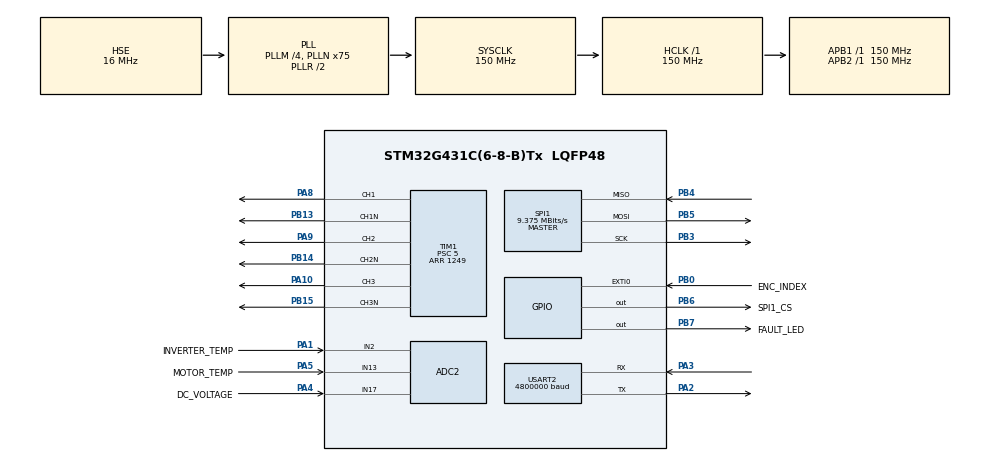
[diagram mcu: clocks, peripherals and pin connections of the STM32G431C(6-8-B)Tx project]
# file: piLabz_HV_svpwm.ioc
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ADC2.Channel-1\#ChannelRegularConversion=ADC_CHANNEL_2
ADC2.Channel-2\#ChannelRegularConversion=ADC_CHANNEL_13
ADC2.Channel-3\#ChannelRegularConversion=ADC_CHANNEL_17
ADC2.DMAContinuousRequests=ENABLE
ADC2.EOCSelection=ADC_EOC_SEQ_CONV
ADC2.EnableRegularConversion=ENABLE
ADC2.ExternalTrigConv=ADC_EXTERNALTRIG_T4_TRGO
ADC2.NbrOfConversion=3
ADC2.NbrOfConversionFlag=1
ADC2.OffsetNumber-1\#ChannelRegularConversion=ADC_OFFSET_NONE
ADC2.OffsetNumber-2\#ChannelRegularConversion=ADC_OFFSET_NONE
ADC2.OffsetNumber-3\#ChannelRegularConversion=ADC_OFFSET_NONE
ADC2.Rank-1\#ChannelRegularConversion=1
ADC2.Rank-2\#ChannelRegularConversion=2
ADC2.Rank-3\#ChannelRegularConversion=3
ADC2.SamplingTime-1\#ChannelRegularConversion=ADC_SAMPLETIME_24CYCLES_5
ADC2.SamplingTime-2\#ChannelRegularConversion=ADC_SAMPLETIME_24CYCLES_5
ADC2.SamplingTime-3\#ChannelRegularConversion=ADC_SAMPLETIME_24CYCLES_5
Dma.ADC2.1.Direction=DMA_PERIPH_TO_MEMORY
Dma.ADC2.1.EventEnable=DISABLE
Dma.ADC2.1.Instance=DMA1_Channel2
Dma.ADC2.1.MemDataAlignment=DMA_MDATAALIGN_HALFWORD
Dma.ADC2.1.MemInc=DMA_MINC_ENABLE
Dma.ADC2.1.Mode=DMA_CIRCULAR
Dma.ADC2.1.PeriphDataAlignment=DMA_PDATAALIGN_HALFWORD
Dma.ADC2.1.PeriphInc=DMA_PINC_DISABLE
Dma.ADC2.1.Polarity=HAL_DMAMUX_REQ_GEN_RISING
Dma.ADC2.1.Priority=DMA_PRIORITY_LOW
Dma.ADC2.1.RequestNumber=1
Dma.ADC2.1.SignalID=NONE
Dma.ADC2.1.SyncEnable=DISABLE
Dma.ADC2.1.SyncPolarity=HAL_DMAMUX_SYNC_NO_EVENT
Dma.ADC2.1.SyncRequestNumber=1
Dma.ADC2.1.SyncSignalID=NONE
Dma.Request0=USART2_TX
Dma.Request1=ADC2
Dma.USART2_TX.0.Direction=DMA_MEMORY_TO_PERIPH
Dma.USART2_TX.0.EventEnable=DISABLE
Dma.USART2_TX.0.Instance=DMA1_Channel1
Dma.USART2_TX.0.MemDataAlignment=DMA_MDATAALIGN_BYTE
Dma.USART2_TX.0.MemInc=DMA_MINC_ENABLE
Dma.USART2_TX.0.Mode=DMA_NORMAL
Dma.USART2_TX.0.PeriphDataAlignment=DMA_PDATAALIGN_BYTE
Dma.USART2_TX.0.PeriphInc=DMA_PINC_DISABLE
Dma.USART2_TX.0.Polarity=HAL_DMAMUX_REQ_GEN_RISING
Dma.USART2_TX.0.Priority=DMA_PRIORITY_HIGH
Dma.USART2_TX.0.RequestNumber=1
Dma.USART2_TX.0.SignalID=NONE
Dma.USART2_TX.0.SyncEnable=DISABLE
Dma.USART2_TX.0.SyncPolarity=HAL_DMAMUX_SYNC_NO_EVENT
Dma.USART2_TX.0.SyncRequestNumber=1
Dma.USART2_TX.0.SyncSignalID=NONE
Mcu.Family=STM32G4
Mcu.Name=STM32G431C(6-8-B)Tx
Mcu.Package=LQFP48
NVIC.ADC1_2_IRQn=true\:0\:0\:false\:false\:true\:true\:true\:true
NVIC.DMA1_Channel1_IRQn=true\:0\:0\:false\:false\:true\:false\:true\:true
NVIC.DMA1_Channel2_IRQn=true\:0\:0\:false\:false\:true\:false\:true\:true
NVIC.EXTI0_IRQn=true\:0\:0\:true\:false\:true\:true\:true\:true
NVIC.PriorityGroup=NVIC_PRIORITYGROUP_4
NVIC.TIM1_UP_TIM16_IRQn=true\:2\:0\:true\:false\:true\:true\:true\:true
NVIC.TIM4_IRQn=true\:0\:0\:false\:false\:true\:true\:true\:true
NVIC.TIM6_DAC_IRQn=true\:3\:0\:true\:false\:true\:true\:true\:true
NVIC.TIM7_IRQn=true\:7\:0\:true\:false\:true\:true\:true\:true
NVIC.USART2_IRQn=true\:1\:0\:true\:false\:true\:true\:true\:true
PA1.GPIO_Label=INVERTER_TEMP
PA1.Mode=IN2-Single-Ended
PA1.Signal=ADC2_IN2
PA10.Signal=S_TIM1_CH3
PA13.Mode=Serial_Wire
PA13.Signal=SYS_JTMS-SWDIO
PA14.Mode=Serial_Wire
PA14.Signal=SYS_JTCK-SWCLK
PA2.Mode=Asynchronous
PA2.Signal=USART2_TX
PA3.Mode=Asynchronous
PA3.Signal=USART2_RX
PA4.GPIO_Label=DC_VOLTAGE
PA4.Mode=IN17-Single-Ended
PA4.Signal=ADC2_IN17
PA5.GPIO_Label=MOTOR_TEMP
PA5.Mode=IN13-Single-Ended
PA5.Signal=ADC2_IN13
PA8.Signal=S_TIM1_CH1
PA9.Signal=S_TIM1_CH2
PB0.GPIO_Label=ENC_INDEX
PB0.Signal=GPXTI0
PB13.Mode=PWM Generation1 CH1 CH1N
PB13.Signal=TIM1_CH1N
PB14.Mode=PWM Generation2 CH2 CH2N
PB14.Signal=TIM1_CH2N
PB15.Mode=PWM Generation3 CH3 CH3N
PB15.Signal=TIM1_CH3N
PB3.Mode=Full_Duplex_Master
PB3.Signal=SPI1_SCK
PB4.Mode=Full_Duplex_Master
PB4.Signal=SPI1_MISO
PB5.Mode=Full_Duplex_Master
PB5.Signal=SPI1_MOSI
PB6.GPIO_Label=SPI1_CS
PB6.GPIO_ModeDefaultOutputPP=GPIO_MODE_OUTPUT_PP
PB6.GPIO_PuPd=GPIO_NOPULL
PB6.PinState=GPIO_PIN_RESET
PB6.Signal=GPIO_Output
PB7.GPIO_Label=FAULT_LED
PB7.Signal=GPIO_Output
PF0-OSC_IN.Mode=HSE-External-Oscillator
PF0-OSC_IN.Signal=RCC_OSC_IN
PF1-OSC_OUT.Mode=HSE-External-Oscillator
PF1-OSC_OUT.Signal=RCC_OSC_OUT
ProjectManager.HeapSize=0x200
ProjectManager.StackSize=0x400
ProjectManager.TargetToolchain=STM32CubeIDE
RCC.ADC12Freq_Value=150000000
RCC.AHBFreq_Value=150000000
RCC.APB1Freq_Value=150000000
RCC.APB1TimFreq_Value=150000000
RCC.APB2Freq_Value=150000000
RCC.APB2TimFreq_Value=150000000
RCC.CortexFreq_Value=150000000
RCC.EXTERNAL_CLOCK_VALUE=12288000
RCC.HCLKFreq_Value=150000000
RCC.HSE_VALUE=16000000
RCC.HSI48_VALUE=48000000
RCC.HSI_VALUE=16000000
RCC.LSE_VALUE=32768
RCC.PLLM=RCC_PLLM_DIV4
RCC.PLLN=75
RCC.PLLSourceVirtual=RCC_PLLSOURCE_HSE
RCC.SYSCLKFreq_VALUE=150000000
RCC.SYSCLKSource=RCC_SYSCLKSOURCE_PLLCLK
RCC.USBFreq_Value=150000000
RCC.VCOOutputFreq_Value=300000000
SH.S_TIM1_CH1.0=TIM1_CH1,PWM Generation1 CH1 CH1N
SH.S_TIM1_CH2.0=TIM1_CH2,PWM Generation2 CH2 CH2N
SH.S_TIM1_CH3.0=TIM1_CH3,PWM Generation3 CH3 CH3N
SPI1.BaudRatePrescaler=SPI_BAUDRATEPRESCALER_16
SPI1.CLKPhase=SPI_PHASE_2EDGE
SPI1.CalculateBaudRate=9.375 MBits/s
SPI1.DataSize=SPI_DATASIZE_8BIT
SPI1.Direction=SPI_DIRECTION_2LINES
SPI1.Mode=SPI_MODE_MASTER
SPI1.VirtualType=VM_MASTER
TIM1.Channel-PWM\ Generation1\ CH1\ CH1N=TIM_CHANNEL_1
TIM1.Channel-PWM\ Generation2\ CH2\ CH2N=TIM_CHANNEL_2
TIM1.Channel-PWM\ Generation3\ CH3\ CH3N=TIM_CHANNEL_3
TIM1.CounterMode=TIM_COUNTERMODE_CENTERALIGNED1
TIM1.DeadTime=90
TIM1.OCMode_PWM-PWM\ Generation1\ CH1\ CH1N=TIM_OCMODE_PWM1
TIM1.OCNIdleState_1=TIM_OCNIDLESTATE_SET
TIM1.OCNIdleState_2=TIM_OCNIDLESTATE_SET
TIM1.OCNIdleState_3=TIM_OCNIDLESTATE_SET
TIM1.OCNPolarity_1=TIM_OCNPOLARITY_LOW
TIM1.OCNPolarity_2=TIM_OCNPOLARITY_LOW
TIM1.OCNPolarity_3=TIM_OCNPOLARITY_LOW
TIM1.PeriodNoDither=1249
TIM1.Prescaler=5
TIM1.RepetitionCounter=0
TIM1.TIM_MasterOutputTrigger=TIM_TRGO_RESET
TIM4.PeriodNoDither=2399
TIM4.Prescaler=1249
TIM4.TIM_MasterOutputTrigger=TIM_TRGO_UPDATE
TIM6.PeriodNoDither=2399
TIM6.Prescaler=1249
TIM7.PeriodNoDither=99
TIM7.Prescaler=1499
USART2.BaudRate=4800000
USART2.Mode=MODE_TX
USART2.VirtualMode-Asynchronous=VM_ASYNC
VP_CORDIC_VS_CORDIC.Mode=CORDIC_Activate
VP_SYS_VS_DBSignals.Mode=DisableDeadBatterySignals
VP_TIM1_VS_ClockSourceINT.Mode=Internal
VP_TIM4_VS_ClockSourceINT.Mode=Internal
VP_TIM6_VS_ClockSourceINT.Mode=Enable_Timer
VP_TIM7_VS_ClockSourceINT.Mode=Enable_Timer
board=custom

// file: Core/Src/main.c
/* USER CODE BEGIN Header */
/**
  ******************************************************************************
  * @file           : main.c
  * @brief          : Main program body
  ******************************************************************************
  * @attention
  *
  * Copyright (c) 2024 STMicroelectronics.
  * All rights reserved.
  *
  * This software is licensed under terms that can be found in the LICENSE file
  * in the root directory of this software component.
  * If no LICENSE file comes with this software, it is provided AS-IS.
  *
  ******************************************************************************
  */
/* USER CODE END Header */
#include "main.h"

/* USER CODE BEGIN Includes */

#include "EncoderFns.h"
#include "PositionSensor.h"
#include "Cordic.h"
#include "FOC.h"
#include "Calibration.h"
#include "MotorSetup.h"
#include "Ramp.h"
#include "ADC.h"
#include "Logger.h"
#include "MathOps.h"
#include "SpeedSensor.h"
#include "ControlConfig.h"
#include "PosControl-JC.h"
#include "CoggingFrictionRemoval.h"
#include "Error.h"
/* USER CODE END Includes */

ADC_HandleTypeDef hadc2;
DMA_HandleTypeDef hdma_adc2;

CORDIC_HandleTypeDef hcordic;

SPI_HandleTypeDef hspi1;

TIM_HandleTypeDef htim1;
TIM_HandleTypeDef htim4;
TIM_HandleTypeDef htim6;
TIM_HandleTypeDef htim7;

UART_HandleTypeDef huart2;
DMA_HandleTypeDef hdma_usart2_tx;

/* USER CODE BEGIN PV */
CORDIC_HandleTypeDef hcordic;
CORDIC_ConfigTypeDef sCordicConfig;
PositionSensor ps;
Speed s;
SVPWM svpwm;
HW hw;
MotorSetup ms;
RampDuty r;
FOC foc;
RampRPM rampRPM;
HSLogger hsLog;
PID speedPID;
PID VqPID;
PID VdPID;
PID posPID;
posControlJC p;
friction fr;
cogging cg;
ADC adc;
Error err;

char UART_buffer[80];
uint16_t ADC2_buff[3];//voltage, two temperatures
//encoder Setup
uint8_t setupOK = 0,errorSetupOK,encZeroPosSetup;
//Ramps
uint8_t dbg_rampDuty_RUStart=0,dbg_rampDuty_RDStart=0,dbg_rampDuty_ChangeDuty=0,dbg_rampDuty_Stop=0;
uint8_t dbg_rampRPM_RUStart=0,dbg_rampRPM_RDStart=0,dbg_rampRPM_ChangeRPM=0,dbg_rampRPM_Stop=0;
uint16_t RPM_transitionTime=0,RPM_transitionTarget = 0;
uint16_t targetDuty = 0,targetRPM = 0;
int8_t direction = CW; // 1 or -1
//control dbg
int8_t turnOffPWMS=0,readPosition=0,turnOff_sensors = 0;
//OL debug mode
float OL_elecRadians = 0,d_elecRadians = 0,OL_RPM = 0;
uint8_t runOL = 0,OL_init = 0,OL_stop = 0;
long lastOL_Counter = 0;
uint16_t OL_delayCycles = 10;
float error_elecRadians = 0,actual_elRadians = 0,OL_offsetRadians = 0,temp =0,correctionPercent=0;
uint8_t addCorrectionPercent = 0;
float out2 = 0;
//posControl
uint8_t setupPosJC = 0,startPosC=0,stopPosC=0;
float pos_targetThetaDeg=0,pos_targetTime_ms = 0;

//logging
long dt,t0,dt2;
uint8_t hsLogOn = 0,checkUartDmA = 0,logEncoderDMA=0;
uint16_t buffer1Sent = 0,buffer1flush=0,buffer2flush=0,buffer2Sent = 0;
long totalBytes=0;

uint8_t setupFrictionAddition = 0;
uint16_t frictionMaxPWM = 6; // 6 experimentally found.
uint8_t setupCoggingAddition = 0;
uint16_t coggingMaxPWM = 10;

uint8_t checkEncoderHealth = 0;
uint8_t encoderNOK = 0;

/* USER CODE END PV */

void SystemClock_Config(void);
static void MX_GPIO_Init(void);
static void MX_DMA_Init(void);
static void MX_SPI1_Init(void);
static void MX_TIM1_Init(void);
static void MX_CORDIC_Init(void);
static void MX_TIM6_Init(void);
static void MX_TIM7_Init(void);
static void MX_USART2_UART_Init(void);
static void MX_ADC2_Init(void);
static void MX_TIM4_Init(void);

/* USER CODE BEGIN 0 */

void HAL_UART_TxCpltCallback(UART_HandleTypeDef *huart){
	hsLog.DMAdataSentOut += 1; // use this and keep a single buffer?
}

void HAL_TIM_PeriodElapsedCallback(TIM_HandleTypeDef *htim)
{
	/* TIM1 is set to fire at half the pwm freq, so 10Khz as the pwm freq is 40Khz. Since RPR= 3
	 * is set before the timer is on, the timer fires at the underflow interrupt
	 */
	if (htim->Instance==TIM1){
		dt = SysTick->VAL - t0;
		t0 = SysTick->VAL;
		svpwm.loopCounter++;

		if (readPosition){
			PositionSensor_update(&ps,TIM1_DT);
			getAveragedVelocityRadSec(&ps);
			updateSpeedCalc(&s,&ps);
			actual_elRadians = ps.elecRadians - OL_offsetRadians;
			if (actual_elRadians < 0){ //works For CW
				temp = 6.28f - actual_elRadians;
				actual_elRadians = temp;
			}
		}

		if (runOL){
			if (svpwm.loopCounter > lastOL_Counter+OL_delayCycles){
				OL_elecRadians += d_elecRadians;
				if (OL_elecRadians >= 6.28f){
					OL_elecRadians = 0;
				}
				if (OL_elecRadians < 0){
					OL_elecRadians = 6.28f;
				}
				error_elecRadians = OL_elecRadians - actual_elRadians;
				posPID.out = ExecPID(&posPID,OL_elecRadians,actual_elRadians,-0.5,0.5);
				svpwm.voltagePercent = r.currentDutyF/TIMER1_ARR;
				correctionPercent = posPID.out;
				out2  = svpwm.voltagePercent + correctionPercent;
				foc.m = svpwm.voltagePercent;
				if (addCorrectionPercent){
					foc.m = out2;
				}
				FOC_calcSVPWM(&svpwm,foc.m,OL_elecRadians,0);//PI_BY_2F);
				FOC_applyPWM(&svpwm,0,ms.reversePhases);
				lastOL_Counter = svpwm.loopCounter;
			}
		}

		//only changing the duty cycle and SVPWM
		if (r.rampPhase!=RAMP_WAIT){
			svpwm.voltagePercent = r.currentDutyF/TIMER1_ARR;
			fr.inst_frictionAddition = 0;
			cg.inst_coggingAddition = 0;
			if (fr.frictionCompensationOn){
				lookupFrictionAddition(&fr,ps.encoder_raw); // NOT sure why sign is changing for the two sides..
			}
			if (cg.coggingCompensationOn){
				lookupCoggingAddition(&cg,ps.elecRadians);
			}
			if (direction == CW){
				foc.m = svpwm.voltagePercent + fr.inst_frictionAddition + cg.inst_coggingAddition;//
				FOC_calcSVPWM(&svpwm,foc.m,ps.elecRadians,PI_BY_3F+ms.encCW_offset);
				FOC_applyPWM(&svpwm,0,ms.reversePhases);
			}else if (direction == CCW){
				foc.m = svpwm.voltagePercent - fr.inst_frictionAddition + cg.inst_coggingAddition;//
				FOC_calcSVPWM(&svpwm,foc.m,ps.elecRadians,-PI_BY_3F+ms.encCCW_offset);
				FOC_applyPWM(&svpwm,0,ms.reversePhases);
			}else{}
		} //closes RAMP wait

		if (rampRPM.rampPhase!=RAMP_WAIT){
			//quick and dirty voltage pid has no anti windup and is limited to only positive nos
			speedPID.out = ExecVoltagePID(&speedPID,rampRPM.instTargetRPM_F,fabs(ps.velocityRPM),0,800); // voltage PID running inside the Hight Task Freq!
			if (fabs(speedPID.error >300)){
				StopAllPWM(&hw)	;
				err.globalErrorFlag = 1;
				err.PID_error = 1;
			}else{
				svpwm.voltagePercent = speedPID.out/TIMER1_ARR;

				fr.inst_frictionAddition = 0;
				cg.inst_coggingAddition = 0;
				if (fr.frictionCompensationOn){
					lookupFrictionAddition(&fr,ps.encoder_raw); // NOT sure why sign is changing for the two sides..
				}
				if (cg.coggingCompensationOn){
					lookupCoggingAddition(&cg,ps.elecRadians);
				}

				if (direction == CW){
					foc.m = svpwm.voltagePercent + fr.inst_frictionAddition + cg.inst_coggingAddition;//
					FOC_calcSVPWM(&svpwm,foc.m,ps.elecRadians,PI_BY_3F+ms.encCW_offset);
					FOC_applyPWM(&svpwm,0,ms.reversePhases);
				}else if (direction == CCW){
					foc.m = svpwm.voltagePercent - fr.inst_frictionAddition + cg.inst_coggingAddition;//
					FOC_calcSVPWM(&svpwm,svpwm.voltagePercent,ps.elecRadians,-PI_BY_3F+ms.encCCW_offset);
					FOC_applyPWM(&svpwm,0,ms.reversePhases);
				}else{}
			}

		} //closes RAMP wait

		//Logging
		if (hsLog.enable){
			if(hsLog.addDatas == 0){
				hsLog.startLoopIndex = svpwm.loopCounter;
			}
			if (hsLog.bufferIndex < HSARRAYSIZE - HSLOGSIZE-1){
				hsLog.bufferIndex = addData(&hsLog, &svpwm, &ps,&foc,&fr,&cg);
				hsLog.addDatas+=1;
			}else{
				switchBuffers(&hsLog);
				hsLog.bufferIndex  = 0;
				hsLog.bufferIndex = addData(&hsLog, &svpwm, &ps,&foc,&fr,&cg);
				hsLog.addDatas+=1;
			}
		}

		dt2 = SysTick->VAL - t0;

	}//closes tim1if

	if (htim->Instance ==TIM6){ // 20ms Loop

		if (r.rampPhase != RAMP_WAIT){
			ExecRampDuty(&r);
			if (r.rampPhase == RAMP_WAIT){
				turnOffPWMS = 1;
			}
		}

		if (rampRPM.rampPhase != RAMP_WAIT){
			ExecRampRPM(&rampRPM);
			if (rampRPM.rampPhase == RAMP_WAIT){
				turnOffPWMS = 1;
			}
		}
		/*if (msLogOn){
			//sprintf(UART_buffer,"F:%06.2f,%06.2f,%06.2f,%06.2f,%06.2f,%06.2f,%06.2f,%06.2f,%06.2f:E\r\n",rampRPM.instTargetRPM_F,s.RPM,speedPID.error,foc.IqRef,foc.IdRef,foc.Iq,foc.Id,speedPID.KpTerm,speedPID.KiTerm);
			//HAL_UART_Transmit_IT(&huart3,(uint8_t *)UART_buffer,70);
		}*/
	}

	if (htim->Instance ==TIM7){ // 1ms Loop
		 ExecPosTrajectory(&p);
	}

}

void HAL_ADC_ConvCpltCallback(ADC_HandleTypeDef* hadc)
{
  /* Prevent unused argument(s) compilation warning */
  UNUSED(hadc);
  if(hadc==&hadc2)
  {
	  adc.FetTemp_ADC =ADC2_buff[0];
	  adc.motorTemp_ADC =ADC2_buff[1];
	  adc.DCV_ADC =ADC2_buff[2];
	  adc.updated = 1;
  }
}

/* USER CODE END 0 */

int main(void)
{

  /* MCU Configuration--------------------------------------------------------*/

  /* Reset of all peripherals, Initializes the Flash interface and the Systick. */
  HAL_Init();

  /* Configure the system clock */
  SystemClock_Config();

  /* Initialize all configured peripherals */
  MX_GPIO_Init();
  MX_DMA_Init();
  MX_SPI1_Init();
  MX_TIM1_Init();
  MX_CORDIC_Init();
  MX_TIM6_Init();
  MX_TIM7_Init();
  MX_USART2_UART_Init();
  MX_ADC2_Init();
  MX_TIM4_Init();
  /* USER CODE BEGIN 2 */

  //Calibrate ADCs
  HAL_Delay(100);
  HAL_ADCEx_Calibration_Start(&hadc2,ADC_SINGLE_ENDED);
  HAL_Delay(100);

  HW_statesInit(&hw);
  hsLogInit(&hsLog);

  /*This board has no external Eeprom. Till we add the code to use the
  internal flash as an eeprom, we have to keep seperate codes for the 45mm stack
  and the 30 mm stack motor*/

  //---45 mm Values ----//
  ms.encAvg_offset = 5210;//d axis 45mmstack -> Daxis 5210,
  ms.reversePhases = 1;
  ms.encCW_offset = 0; //find these nos by watching where the current is lowest for say 1000 rpm in closed loop
  ms.encCCW_offset = -1.3;
  //---30mm stack values ---//
//  ms.encAvg_offset = 3706;
//  ms.reversePhases = 1;
//  ms.encCW_offset = 0; //find these nos by watching where the current is lowest for say 1000 rpm in closed loop
//  ms.encCCW_offset = -1.3;

  setupOK = Encoder_setup(); //setup ABI mode without PWM
  encZeroPosSetup = Encoder_updateZeroPosition(ms.encAvg_offset);
  errorSetupOK = Encoder_enableMagErrors();
  Cordic_setup(hcordic,sCordicConfig);

  //position trajectory setup
  Init_ConstJerk_PosControl(&p);
  Reset_posControlJC(&p);

  r.rampPhase = RAMP_WAIT;
  rampRPM.rampPhase = RAMP_WAIT;

  // plotted and found Kp ki constant values with dbgTorque..
  Init_PID_Terms(&speedPID,3.0f,0.4f,0.0f,0.05f);
  Init_PID_Terms(&posPID,3.0f,0.001f,0.00f,0.005f);

  //only start the timer after youve done calibration properly, cos your reading the ADC in the timer also.
  HAL_TIM_Base_Start_IT(&htim1);
  htim1.Instance->RCR = 1; // If its after the counter has started, interrupt is on the OVF, and division of interrupt is at (RCR+1), so for 1, divide by 2, for 0->1

  HAL_TIM_Base_Start_IT(&htim6); // 20 ms interrupt
  HAL_TIM_Base_Start_IT(&htim7); // 1 ms interrupt
  //first values of the position sensor are noisy. so start reading it here, wait
  //for a while and then turn it off
  readPosition = 1;
  HAL_Delay(10);
  readPosition = 0;

  setMaxFrictionPWM(&fr,frictionMaxPWM);
  setMaxCoggingPWM(&cg,coggingMaxPWM);
  fr.frictionCompensationOn = 0;
  cg.coggingCompensationOn = 0;

  //Start the ADCs -only for DC voltage and Temperature.
  HAL_TIM_Base_Start_IT(&htim4);//start timer for adc2 trigger
  HAL_ADC_Start_DMA(&hadc2,(uint32_t*)ADC2_buff,3);
  HAL_Delay(100);
  adc.FET_thermistor_open = checkThermistorOpen(adc.FetTemp_ADC);
  adc.motor_thermistor_open = checkThermistorOpen(adc.motorTemp_ADC);

  if (adc.FET_thermistor_open == 1){
	  err.globalErrorFlag = 1;
	  err.fetThermistorOpen = 1;
  }
  if (adc.motor_thermistor_open == 1){
	  err.globalErrorFlag = 1;
	  err.windingsThermistorOpen = 1;
  }
  /* USER CODE END 2 */

  /* Infinite loop */
  /* USER CODE BEGIN WHILE */
  while (1)
  {
	  if (adc.updated){
		  adc.FetTemp_C = get_temperature(adc.FetTemp_ADC);
		  adc.motorTemp_C = get_temperature(adc.motorTemp_ADC);
		  if (adc.FetTemp_C > 65){
			  err.globalErrorFlag = 1;
			  err.temp_FET_outOfBounds = 1;
		  }
		  if (adc.motorTemp_C > 90){
			  err.globalErrorFlag = 1;
			  err.temp_windings_outOfBounds = 1;
		  }

		  adc.updated=0;
	  }

	  if (err.globalErrorFlag == 1){
		  StopAllPWM(&hw);
		  while(1){
			  err.counter++;
			  HAL_Delay(1000);
		  }
	  }

	  if (turnOffPWMS){
		  StopAllPWM(&hw);
		  turnOffPWMS = 0;
	  }

	  if (checkEncoderHealth){
		  encoderNOK = Encoder_checkHealth();
		  checkEncoderHealth = 0;
	  }

	  if (turnOff_sensors){
		  readPosition = 0;
		  turnOff_sensors = 0;
		  turnOffPWMS = 1;
	  }

	  if (setupPosJC){
		  Reset_posControlJC(&p);
		  Setup_posControlJC(&p,pos_targetThetaDeg,pos_targetTime_ms);
		  setupPosJC = 0;
	  }

	  if (startPosC){
		  p.state = POS_RUNNING;
		  startPosC = 0;
	  }
	  if (stopPosC){
		  p.state = POS_OVER;
		  stopPosC = 0;
	  }

	  if (setupFrictionAddition){
		  setMaxFrictionPWM(&fr,frictionMaxPWM);
		  setupFrictionAddition = 0;
	  }

	  if (setupCoggingAddition){
		  setMaxCoggingPWM(&cg,coggingMaxPWM);
		  setupCoggingAddition = 0;
	  }
	  /*RMF control!
	  change d_elec Radians. MAke negative to change direction.
	  start with a value of 0.005 and slowly increase or decrease.
	  V.IMP -> motor has to rotate clockwise if d_elec is positive*/
	  if (OL_init){ // do with a position Loop
		  //turn on the PWMS
		  readPosition = 1;
		  d_elecRadians = 0.001;
		  r.currentDutyF = 100;
		  //turn on the PWMS
		  ZeroAllCCRs(&svpwm);
		  StartAllPWM(&hw);
		  runOL = 1;
		  OL_init = 0;
		  //pid stuff
		  HAL_Delay(100); // time for a reading to be taken.
		  OL_offsetRadians = ps.elecRadians;
	  }

	  if (OL_stop){
		  runOL = 0;
		  StopAllPWM(&hw);
		  turnOff_sensors =1;
		  OL_stop = 0;
	  }

	  /*---------------*/
	  //RUN with some DUTY CYCLE
	  if (dbg_rampDuty_RUStart){
		readPosition = 1;
		//direction = CW ; not set here so u can change direction in debug mode. 1 or -1 ONLY!!
		//fill up the Ramp Duty Struct- TargetRPRm,rampUp Time, rampDownTime, and steadY state runTime
		InitRampDutyStruct(&r,targetDuty,5000,5000,300);
		StartRampDuty(&r);
		//turn on the PWMS
		ZeroAllCCRs(&svpwm);
		StartAllPWM(&hw);
		dbg_rampDuty_RUStart = 0;
	  }

	  if (dbg_rampDuty_RDStart){
		  StartRampDownDuty(&r);
		  dbg_rampDuty_RDStart= 0;
		  // change this later to keep track of where rpm becomes zero,
		  // and there make swithc of the PWMs
	  }

	  //Set transition Target and Transition Time in RM
	  if(dbg_rampDuty_ChangeDuty){
		  ChangeDuty(&r);
		  Recalculate_RampDuty_RampRates(&r,r.transitionTarget);
		  r.rampPhase = RAMP_CHANGE;
		  dbg_rampDuty_ChangeDuty = 0;
	  }

	  if (dbg_rampDuty_Stop){
		  // we need to stop the six sector Obj, and then stop the Ramp
		  StopAllPWM(&hw);
		  StopRampDuty(&r);
		  dbg_rampDuty_Stop =0;
	  }

	  /*------------------------------------------*/
	  //run with RPM
	  if (dbg_rampRPM_RUStart){
		//fill up the Ramp Duty Struct- TargetRPRm,rampUp Time, rampDownTime, and steadY state runTime
		InitRampRPMStruct(&rampRPM,targetRPM,10.0f,12.0f,300.0f);
		readPosition = 1;
		Zero_PID_Terms(&speedPID);
		StartRampRPM(&rampRPM); 		// we need to start the Ramp
		ZeroAllCCRs(&svpwm);
		StartAllPWM(&hw); 		//turn on the PWMS
		//need to reset the timer to allow for calculation of Time to take place
		dbg_rampRPM_RUStart = 0;
	  }

	  if (dbg_rampRPM_RDStart){
		  StartRampDownRPM(&rampRPM);
		  dbg_rampRPM_RDStart= 0;
	  }

	  //Set transition Target and Transition Time in RM
	  if(dbg_rampRPM_ChangeRPM){
		  ChangeRPM(&rampRPM,RPM_transitionTarget,RPM_transitionTime);
		  Recalculate_RampRPM_RampRates(&rampRPM,RPM_transitionTarget);
		  rampRPM.rampPhase = RAMP_CHANGE;
		  dbg_rampRPM_ChangeRPM = 0;
	  }

	  //STOP CLOSED LOOP
	  if (dbg_rampRPM_Stop){
		  StopAllPWM(&hw);
		  StopRampRPM(&rampRPM);
		  dbg_rampRPM_Stop =0;
	  }

	  /*--------------------------------------------------*/

	  if(checkUartDmA){
		  HAL_UART_Transmit_DMA(&huart2,(uint8_t *)"is this Working????\r\n",22);
		  checkUartDmA = 0;
	  }
	  /*------------------------------------------------*/

	  if (hsLogOn){
		  if (hsLog.firstTime == 0){
			  hsLogStart(&hsLog,&ps);
			  hsLog.end_multiTurns = hsLog.start_multiTurns  + (direction * TWO_PI_F * LOG_TURNS);
			  hsLog.addDatas = 0;
			  totalBytes = 0;
		  }

		  if (hsLog.sendOut == BUFFER1){
			  HAL_UART_Transmit_DMA(&huart2,(uint8_t *)hsLog.HSbuffer1,hsLog.sendOutBufferSize);
			  //hsLog.DMAdataSentOut = 0;
			  hsLog.sendOut = NOBUFFER;
			  totalBytes += hsLog.sendOutBufferSize;
			  hsLog.sendOutBufferSize = 0;
			  buffer1Sent+=1;
		  }
		  else if (hsLog.sendOut == BUFFER2){
			  HAL_UART_Transmit_DMA(&huart2,(uint8_t *)hsLog.HSbuffer2,hsLog.sendOutBufferSize);
			  //hsLog.DMAdataSentOut = 0;
			  hsLog.sendOut = NOBUFFER;
			  totalBytes += hsLog.sendOutBufferSize;
			  hsLog.sendOutBufferSize = 0;
			  buffer2Sent+=1;
		  }
		  else {}
		  hsLog_CheckStopConditionReached(&hsLog,&ps,direction);
		  if (hsLog.stopAndFlushBuffer){
			  //stop  the log, send out whatever data
			 hsLog.enable = 0;
			 hsLog.endLoopIndex = svpwm.loopCounter;
			 if (hsLog.runningBuffer == BUFFER1){
				HAL_UART_Transmit_DMA(&huart2,(uint8_t *)hsLog.HSbuffer1,hsLog.bufferIndex);
				buffer1flush+=1;
				totalBytes += hsLog.sendOutBufferSize;
			 }else{
				HAL_UART_Transmit_DMA(&huart2,(uint8_t *)hsLog.HSbuffer2,hsLog.bufferIndex);
				buffer2flush+=1;
				totalBytes += hsLog.sendOutBufferSize;
			 }
			 hsLogOn = 0;
		  }
	  }else{
		  hsLogReset(&hsLog);
	  }

    /* USER CODE END WHILE */

  }
}

void SystemClock_Config(void)
{
  RCC_OscInitTypeDef RCC_OscInitStruct = {0};
  RCC_ClkInitTypeDef RCC_ClkInitStruct = {0};

  /** Configure the main internal regulator output voltage
  */
  HAL_PWREx_ControlVoltageScaling(PWR_REGULATOR_VOLTAGE_SCALE1);

  /** Initializes the RCC Oscillators according to the specified parameters
  * in the RCC_OscInitTypeDef structure.
  */
  RCC_OscInitStruct.OscillatorType = RCC_OSCILLATORTYPE_HSE;
  RCC_OscInitStruct.HSEState = RCC_HSE_ON;
  RCC_OscInitStruct.PLL.PLLState = RCC_PLL_ON;
  RCC_OscInitStruct.PLL.PLLSource = RCC_PLLSOURCE_HSE;
  RCC_OscInitStruct.PLL.PLLM = RCC_PLLM_DIV4;
  RCC_OscInitStruct.PLL.PLLN = 75;
  RCC_OscInitStruct.PLL.PLLP = RCC_PLLP_DIV2;
  RCC_OscInitStruct.PLL.PLLQ = RCC_PLLQ_DIV2;
  RCC_OscInitStruct.PLL.PLLR = RCC_PLLR_DIV2;
  if (HAL_RCC_OscConfig(&RCC_OscInitStruct) != HAL_OK)
  {
    Error_Handler();
  }

  /** Initializes the CPU, AHB and APB buses clocks
  */
  RCC_ClkInitStruct.ClockType = RCC_CLOCKTYPE_HCLK|RCC_CLOCKTYPE_SYSCLK
                              |RCC_CLOCKTYPE_PCLK1|RCC_CLOCKTYPE_PCLK2;
  RCC_ClkInitStruct.SYSCLKSource = RCC_SYSCLKSOURCE_PLLCLK;
  RCC_ClkInitStruct.AHBCLKDivider = RCC_SYSCLK_DIV1;
  RCC_ClkInitStruct.APB1CLKDivider = RCC_HCLK_DIV1;
  RCC_ClkInitStruct.APB2CLKDivider = RCC_HCLK_DIV1;

  if (HAL_RCC_ClockConfig(&RCC_ClkInitStruct, FLASH_LATENCY_4) != HAL_OK)
  {
    Error_Handler();
  }
}

static void MX_ADC2_Init(void)
{

  ADC_ChannelConfTypeDef sConfig = {0};

  /** Common config
  */
  hadc2.Instance = ADC2;
  hadc2.Init.ClockPrescaler = ADC_CLOCK_SYNC_PCLK_DIV4;
  hadc2.Init.Resolution = ADC_RESOLUTION_12B;
  hadc2.Init.DataAlign = ADC_DATAALIGN_RIGHT;
  hadc2.Init.GainCompensation = 0;
  hadc2.Init.ScanConvMode = ADC_SCAN_ENABLE;
  hadc2.Init.EOCSelection = ADC_EOC_SEQ_CONV;
  hadc2.Init.LowPowerAutoWait = DISABLE;
  hadc2.Init.ContinuousConvMode = DISABLE;
  hadc2.Init.NbrOfConversion = 3;
  hadc2.Init.DiscontinuousConvMode = DISABLE;
  hadc2.Init.ExternalTrigConv = ADC_EXTERNALTRIG_T4_TRGO;
  hadc2.Init.ExternalTrigConvEdge = ADC_EXTERNALTRIGCONVEDGE_RISING;
  hadc2.Init.DMAContinuousRequests = ENABLE;
  hadc2.Init.Overrun = ADC_OVR_DATA_PRESERVED;
  hadc2.Init.OversamplingMode = DISABLE;
  if (HAL_ADC_Init(&hadc2) != HAL_OK)
  {
    Error_Handler();
  }

  /** Configure Regular Channel
  */
  sConfig.Channel = ADC_CHANNEL_2;
  sConfig.Rank = ADC_REGULAR_RANK_1;
  sConfig.SamplingTime = ADC_SAMPLETIME_24CYCLES_5;
  sConfig.SingleDiff = ADC_SINGLE_ENDED;
  sConfig.OffsetNumber = ADC_OFFSET_NONE;
  sConfig.Offset = 0;
  if (HAL_ADC_ConfigChannel(&hadc2, &sConfig) != HAL_OK)
  {
    Error_Handler();
  }

  /** Configure Regular Channel
  */
  sConfig.Channel = ADC_CHANNEL_13;
  sConfig.Rank = ADC_REGULAR_RANK_2;
  if (HAL_ADC_ConfigChannel(&hadc2, &sConfig) != HAL_OK)
  {
    Error_Handler();
  }

  /** Configure Regular Channel
  */
  sConfig.Channel = ADC_CHANNEL_17;
  sConfig.Rank = ADC_REGULAR_RANK_3;
  if (HAL_ADC_ConfigChannel(&hadc2, &sConfig) != HAL_OK)
  {
    Error_Handler();
  }

}

static void MX_CORDIC_Init(void)
{

  hcordic.Instance = CORDIC;
  if (HAL_CORDIC_Init(&hcordic) != HAL_OK)
  {
    Error_Handler();
  }

}

static void MX_SPI1_Init(void)
{

  /* SPI1 parameter configuration*/
  hspi1.Instance = SPI1;
  hspi1.Init.Mode = SPI_MODE_MASTER;
  hspi1.Init.Direction = SPI_DIRECTION_2LINES;
  hspi1.Init.DataSize = SPI_DATASIZE_8BIT;
  hspi1.Init.CLKPolarity = SPI_POLARITY_LOW;
  hspi1.Init.CLKPhase = SPI_PHASE_2EDGE;
  hspi1.Init.NSS = SPI_NSS_SOFT;
  hspi1.Init.BaudRatePrescaler = SPI_BAUDRATEPRESCALER_16;
  hspi1.Init.FirstBit = SPI_FIRSTBIT_MSB;
  hspi1.Init.TIMode = SPI_TIMODE_DISABLE;
  hspi1.Init.CRCCalculation = SPI_CRCCALCULATION_DISABLE;
  hspi1.Init.CRCPolynomial = 7;
  hspi1.Init.CRCLength = SPI_CRC_LENGTH_DATASIZE;
  hspi1.Init.NSSPMode = SPI_NSS_PULSE_DISABLE;
  if (HAL_SPI_Init(&hspi1) != HAL_OK)
  {
    Error_Handler();
  }

}

static void MX_TIM1_Init(void)
{

  TIM_ClockConfigTypeDef sClockSourceConfig = {0};
  TIM_MasterConfigTypeDef sMasterConfig = {0};
  TIM_OC_InitTypeDef sConfigOC = {0};
  TIM_BreakDeadTimeConfigTypeDef sBreakDeadTimeConfig = {0};

  htim1.Instance = TIM1;
  htim1.Init.Prescaler = 5;
  htim1.Init.CounterMode = TIM_COUNTERMODE_CENTERALIGNED1;
  htim1.Init.Period = 1249;
  htim1.Init.ClockDivision = TIM_CLOCKDIVISION_DIV1;
  htim1.Init.RepetitionCounter = 0;
  htim1.Init.AutoReloadPreload = TIM_AUTORELOAD_PRELOAD_DISABLE;
  if (HAL_TIM_Base_Init(&htim1) != HAL_OK)
  {
    Error_Handler();
  }
  sClockSourceConfig.ClockSource = TIM_CLOCKSOURCE_INTERNAL;
  if (HAL_TIM_ConfigClockSource(&htim1, &sClockSourceConfig) != HAL_OK)
  {
    Error_Handler();
  }
  if (HAL_TIM_PWM_Init(&htim1) != HAL_OK)
  {
    Error_Handler();
  }
  sMasterConfig.MasterOutputTrigger = TIM_TRGO_RESET;
  sMasterConfig.MasterOutputTrigger2 = TIM_TRGO2_RESET;
  sMasterConfig.MasterSlaveMode = TIM_MASTERSLAVEMODE_DISABLE;
  if (HAL_TIMEx_MasterConfigSynchronization(&htim1, &sMasterConfig) != HAL_OK)
  {
    Error_Handler();
  }
  sConfigOC.OCMode = TIM_OCMODE_PWM1;
  sConfigOC.Pulse = 0;
  sConfigOC.OCPolarity = TIM_OCPOLARITY_HIGH;
  sConfigOC.OCNPolarity = TIM_OCNPOLARITY_LOW;
  sConfigOC.OCFastMode = TIM_OCFAST_DISABLE;
  sConfigOC.OCIdleState = TIM_OCIDLESTATE_RESET;
  sConfigOC.OCNIdleState = TIM_OCNIDLESTATE_SET;
  if (HAL_TIM_PWM_ConfigChannel(&htim1, &sConfigOC, TIM_CHANNEL_1) != HAL_OK)
  {
    Error_Handler();
  }
  if (HAL_TIM_PWM_ConfigChannel(&htim1, &sConfigOC, TIM_CHANNEL_2) != HAL_OK)
  {
    Error_Handler();
  }
  if (HAL_TIM_PWM_ConfigChannel(&htim1, &sConfigOC, TIM_CHANNEL_3) != HAL_OK)
  {
    Error_Handler();
  }
  sBreakDeadTimeConfig.OffStateRunMode = TIM_OSSR_DISABLE;
  sBreakDeadTimeConfig.OffStateIDLEMode = TIM_OSSI_DISABLE;
  sBreakDeadTimeConfig.LockLevel = TIM_LOCKLEVEL_OFF;
  sBreakDeadTimeConfig.DeadTime = 90;
  sBreakDeadTimeConfig.BreakState = TIM_BREAK_DISABLE;
  sBreakDeadTimeConfig.BreakPolarity = TIM_BREAKPOLARITY_HIGH;
  sBreakDeadTimeConfig.BreakFilter = 0;
  sBreakDeadTimeConfig.BreakAFMode = TIM_BREAK_AFMODE_INPUT;
  sBreakDeadTimeConfig.Break2State = TIM_BREAK2_DISABLE;
  sBreakDeadTimeConfig.Break2Polarity = TIM_BREAK2POLARITY_HIGH;
  sBreakDeadTimeConfig.Break2Filter = 0;
  sBreakDeadTimeConfig.Break2AFMode = TIM_BREAK_AFMODE_INPUT;
  sBreakDeadTimeConfig.AutomaticOutput = TIM_AUTOMATICOUTPUT_DISABLE;
  if (HAL_TIMEx_ConfigBreakDeadTime(&htim1, &sBreakDeadTimeConfig) != HAL_OK)
  {
    Error_Handler();
  }
  HAL_TIM_MspPostInit(&htim1);

}

static void MX_TIM4_Init(void)
{

  TIM_ClockConfigTypeDef sClockSourceConfig = {0};
  TIM_MasterConfigTypeDef sMasterConfig = {0};

  htim4.Instance = TIM4;
  htim4.Init.Prescaler = 1249;
  htim4.Init.CounterMode = TIM_COUNTERMODE_UP;
  htim4.Init.Period = 2399;
  htim4.Init.ClockDivision = TIM_CLOCKDIVISION_DIV1;
  htim4.Init.AutoReloadPreload = TIM_AUTORELOAD_PRELOAD_DISABLE;
  if (HAL_TIM_Base_Init(&htim4) != HAL_OK)
  {
    Error_Handler();
  }
  sClockSourceConfig.ClockSource = TIM_CLOCKSOURCE_INTERNAL;
  if (HAL_TIM_ConfigClockSource(&htim4, &sClockSourceConfig) != HAL_OK)
  {
    Error_Handler();
  }
  sMasterConfig.MasterOutputTrigger = TIM_TRGO_UPDATE;
  sMasterConfig.MasterSlaveMode = TIM_MASTERSLAVEMODE_DISABLE;
  if (HAL_TIMEx_MasterConfigSynchronization(&htim4, &sMasterConfig) != HAL_OK)
  {
    Error_Handler();
  }

}

static void MX_TIM6_Init(void)
{

  TIM_MasterConfigTypeDef sMasterConfig = {0};

  htim6.Instance = TIM6;
  htim6.Init.Prescaler = 1249;
  htim6.Init.CounterMode = TIM_COUNTERMODE_UP;
  htim6.Init.Period = 2399;
  htim6.Init.AutoReloadPreload = TIM_AUTORELOAD_PRELOAD_DISABLE;
  if (HAL_TIM_Base_Init(&htim6) != HAL_OK)
  {
    Error_Handler();
  }
  sMasterConfig.MasterOutputTrigger = TIM_TRGO_RESET;
  sMasterConfig.MasterSlaveMode = TIM_MASTERSLAVEMODE_DISABLE;
  if (HAL_TIMEx_MasterConfigSynchronization(&htim6, &sMasterConfig) != HAL_OK)
  {
    Error_Handler();
  }

}

static void MX_TIM7_Init(void)
{

  TIM_MasterConfigTypeDef sMasterConfig = {0};

  htim7.Instance = TIM7;
  htim7.Init.Prescaler = 1499;
  htim7.Init.CounterMode = TIM_COUNTERMODE_UP;
  htim7.Init.Period = 99;
  htim7.Init.AutoReloadPreload = TIM_AUTORELOAD_PRELOAD_DISABLE;
  if (HAL_TIM_Base_Init(&htim7) != HAL_OK)
  {
    Error_Handler();
  }
  sMasterConfig.MasterOutputTrigger = TIM_TRGO_RESET;
  sMasterConfig.MasterSlaveMode = TIM_MASTERSLAVEMODE_DISABLE;
  if (HAL_TIMEx_MasterConfigSynchronization(&htim7, &sMasterConfig) != HAL_OK)
  {
    Error_Handler();
  }

}

static void MX_USART2_UART_Init(void)
{

  huart2.Instance = USART2;
  huart2.Init.BaudRate = 4800000;
  huart2.Init.WordLength = UART_WORDLENGTH_8B;
  huart2.Init.StopBits = UART_STOPBITS_1;
  huart2.Init.Parity = UART_PARITY_NONE;
  huart2.Init.Mode = UART_MODE_TX;
  huart2.Init.HwFlowCtl = UART_HWCONTROL_NONE;
  huart2.Init.OverSampling = UART_OVERSAMPLING_16;
  huart2.Init.OneBitSampling = UART_ONE_BIT_SAMPLE_DISABLE;
  huart2.Init.ClockPrescaler = UART_PRESCALER_DIV1;
  huart2.AdvancedInit.AdvFeatureInit = UART_ADVFEATURE_NO_INIT;
  if (HAL_UART_Init(&huart2) != HAL_OK)
  {
    Error_Handler();
  }
  if (HAL_UARTEx_SetTxFifoThreshold(&huart2, UART_TXFIFO_THRESHOLD_1_8) != HAL_OK)
  {
    Error_Handler();
  }
  if (HAL_UARTEx_SetRxFifoThreshold(&huart2, UART_RXFIFO_THRESHOLD_1_8) != HAL_OK)
  {
    Error_Handler();
  }
  if (HAL_UARTEx_DisableFifoMode(&huart2) != HAL_OK)
  {
    Error_Handler();
  }

}

static void MX_DMA_Init(void)
{

  /* DMA controller clock enable */
  __HAL_RCC_DMAMUX1_CLK_ENABLE();
  __HAL_RCC_DMA1_CLK_ENABLE();

  /* DMA interrupt init */
  /* DMA1_Channel1_IRQn interrupt configuration */
  HAL_NVIC_SetPriority(DMA1_Channel1_IRQn, 0, 0);
  HAL_NVIC_EnableIRQ(DMA1_Channel1_IRQn);
  /* DMA1_Channel2_IRQn interrupt configuration */
  HAL_NVIC_SetPriority(DMA1_Channel2_IRQn, 0, 0);
  HAL_NVIC_EnableIRQ(DMA1_Channel2_IRQn);

}

static void MX_GPIO_Init(void)
{
  GPIO_InitTypeDef GPIO_InitStruct = {0};

  /* GPIO Ports Clock Enable */
  __HAL_RCC_GPIOC_CLK_ENABLE();
  __HAL_RCC_GPIOF_CLK_ENABLE();
  __HAL_RCC_GPIOG_CLK_ENABLE();
  __HAL_RCC_GPIOA_CLK_ENABLE();
  __HAL_RCC_GPIOB_CLK_ENABLE();

  /*Configure GPIO pin Output Level */
  HAL_GPIO_WritePin(GPIOB, SPI1_CS_Pin|FAULT_LED_Pin, GPIO_PIN_RESET);

  /*Configure GPIO pins : PC13 PC14 PC15 */
  GPIO_InitStruct.Pin = GPIO_PIN_13|GPIO_PIN_14|GPIO_PIN_15;
  GPIO_InitStruct.Mode = GPIO_MODE_ANALOG;
  GPIO_InitStruct.Pull = GPIO_NOPULL;
  HAL_GPIO_Init(GPIOC, &GPIO_InitStruct);

  /*Configure GPIO pin : PG10 */
  GPIO_InitStruct.Pin = GPIO_PIN_10;
  GPIO_InitStruct.Mode = GPIO_MODE_ANALOG;
  GPIO_InitStruct.Pull = GPIO_NOPULL;
  HAL_GPIO_Init(GPIOG, &GPIO_InitStruct);

  /*Configure GPIO pins : PA0 PA6 PA7 PA11
                           PA12 PA15 */
  GPIO_InitStruct.Pin = GPIO_PIN_0|GPIO_PIN_6|GPIO_PIN_7|GPIO_PIN_11
                          |GPIO_PIN_12|GPIO_PIN_15;
  GPIO_InitStruct.Mode = GPIO_MODE_ANALOG;
  GPIO_InitStruct.Pull = GPIO_NOPULL;
  HAL_GPIO_Init(GPIOA, &GPIO_InitStruct);

  /*Configure GPIO pin : ENC_INDEX_Pin */
  GPIO_InitStruct.Pin = ENC_INDEX_Pin;
  GPIO_InitStruct.Mode = GPIO_MODE_IT_RISING;
  GPIO_InitStruct.Pull = GPIO_NOPULL;
  HAL_GPIO_Init(ENC_INDEX_GPIO_Port, &GPIO_InitStruct);

  /*Configure GPIO pins : PB1 PB2 PB10 PB11
                           PB12 PB8 PB9 */
  GPIO_InitStruct.Pin = GPIO_PIN_1|GPIO_PIN_2|GPIO_PIN_10|GPIO_PIN_11
                          |GPIO_PIN_12|GPIO_PIN_8|GPIO_PIN_9;
  GPIO_InitStruct.Mode = GPIO_MODE_ANALOG;
  GPIO_InitStruct.Pull = GPIO_NOPULL;
  HAL_GPIO_Init(GPIOB, &GPIO_InitStruct);

  /*Configure GPIO pins : SPI1_CS_Pin FAULT_LED_Pin */
  GPIO_InitStruct.Pin = SPI1_CS_Pin|FAULT_LED_Pin;
  GPIO_InitStruct.Mode = GPIO_MODE_OUTPUT_PP;
  GPIO_InitStruct.Pull = GPIO_NOPULL;
  GPIO_InitStruct.Speed = GPIO_SPEED_FREQ_LOW;
  HAL_GPIO_Init(GPIOB, &GPIO_InitStruct);

  /* EXTI interrupt init*/
  HAL_NVIC_SetPriority(EXTI0_IRQn, 0, 0);
  HAL_NVIC_EnableIRQ(EXTI0_IRQn);

}

void Error_Handler(void)
{
  __disable_irq();
  while (1)
  {
  }
}
